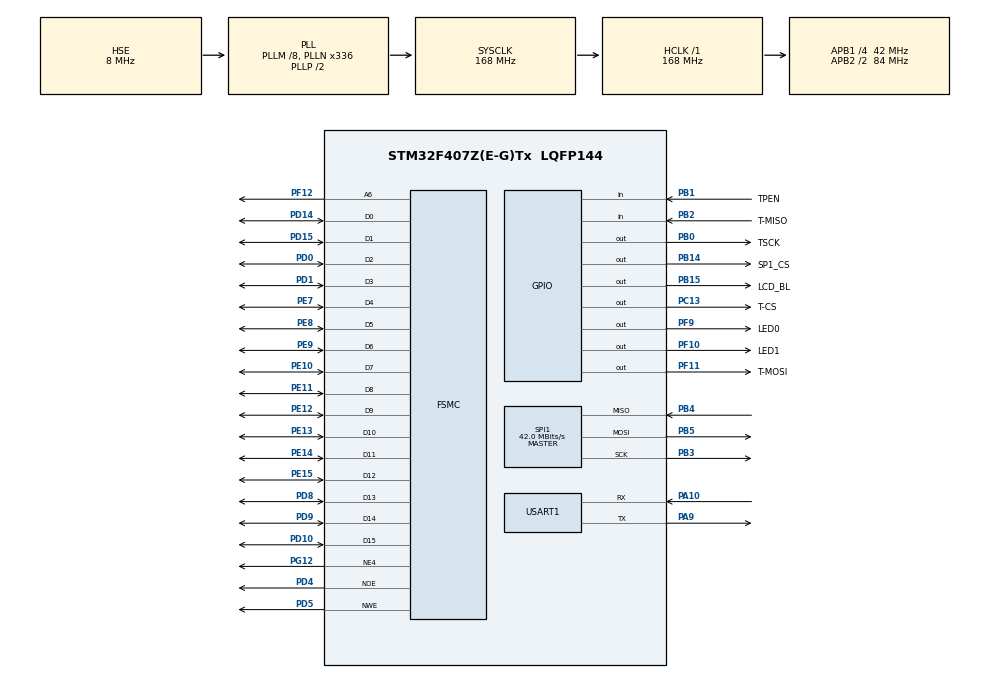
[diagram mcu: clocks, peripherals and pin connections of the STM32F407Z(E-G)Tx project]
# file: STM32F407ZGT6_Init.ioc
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FSMC.AddressSetupTime1=0x0F
FSMC.BusTurnAroundDuration1=0
FSMC.DataSetupTime1=60
FSMC.ExtendedAddressSetupTime1=9
FSMC.ExtendedBusTurnAroundDuration1=0
FSMC.ExtendedDataSetupTime1=9
FSMC.ExtendedMode1=FSMC_EXTENDED_MODE_ENABLE
Mcu.Family=STM32F4
Mcu.Name=STM32F407Z(E-G)Tx
Mcu.Package=LQFP144
NVIC.PriorityGroup=NVIC_PRIORITYGROUP_4
NVIC.USART1_IRQn=true\:2\:0\:true\:false\:true\:true\:true\:true
PA10.Mode=Asynchronous
PA10.Signal=USART1_RX
PA13.Mode=Serial_Wire
PA13.Signal=SYS_JTMS-SWDIO
PA14.Mode=Serial_Wire
PA14.Signal=SYS_JTCK-SWCLK
PA9.Mode=Asynchronous
PA9.Signal=USART1_TX
PB0.GPIO_Label=TSCK
PB0.Signal=GPIO_Output
PB1.GPIO_Label=TPEN
PB1.GPIO_PuPd=GPIO_PULLUP
PB1.Signal=GPIO_Input
PB14.GPIO_Label=SP1_CS
PB14.GPIO_PuPd=GPIO_PULLUP
PB14.GPIO_Speed=GPIO_SPEED_FREQ_MEDIUM
PB14.Signal=GPIO_Output
PB15.GPIO_Label=LCD_BL
PB15.Signal=GPIO_Output
PB2.GPIO_Label=T-MISO
PB2.GPIO_PuPd=GPIO_PULLUP
PB2.Signal=GPIO_Input
PB3.Mode=Full_Duplex_Master
PB3.Signal=SPI1_SCK
PB4.Mode=Full_Duplex_Master
PB4.Signal=SPI1_MISO
PB5.Mode=Full_Duplex_Master
PB5.Signal=SPI1_MOSI
PC13-ANTI_TAMP.GPIO_Label=T-CS
PC13-ANTI_TAMP.Signal=GPIO_Output
PC14-OSC32_IN.Mode=LSE-External-Oscillator
PC14-OSC32_IN.Signal=RCC_OSC32_IN
PC15-OSC32_OUT.Mode=LSE-External-Oscillator
PC15-OSC32_OUT.Signal=RCC_OSC32_OUT
PD0.Signal=FSMC_D2_DA2
PD1.Signal=FSMC_D3_DA3
PD10.Signal=FSMC_D15_DA15
PD14.Signal=FSMC_D0_DA0
PD15.Signal=FSMC_D1_DA1
PD4.Signal=FSMC_NOE
PD5.Signal=FSMC_NWE
PD8.Signal=FSMC_D13_DA13
PD9.Signal=FSMC_D14_DA14
PE10.Signal=FSMC_D7_DA7
PE11.Signal=FSMC_D8_DA8
PE12.Signal=FSMC_D9_DA9
PE13.Signal=FSMC_D10_DA10
PE14.Signal=FSMC_D11_DA11
PE15.Signal=FSMC_D12_DA12
PE7.Signal=FSMC_D4_DA4
PE8.Signal=FSMC_D5_DA5
PE9.Signal=FSMC_D6_DA6
PF10.GPIO_Label=LED1
PF10.GPIO_PuPd=GPIO_PULLUP
PF10.Signal=GPIO_Output
PF11.GPIO_Label=T-MOSI
PF11.Signal=GPIO_Output
PF12.Signal=FSMC_A6
PF9.GPIO_Label=LED0
PF9.GPIO_PuPd=GPIO_PULLUP
PF9.Signal=GPIO_Output
PG12.Mode=NorPsramChipSelect4_1
PG12.Signal=FSMC_NE4
PH0-OSC_IN.Mode=HSE-External-Oscillator
PH0-OSC_IN.Signal=RCC_OSC_IN
PH1-OSC_OUT.Mode=HSE-External-Oscillator
PH1-OSC_OUT.Signal=RCC_OSC_OUT
ProjectManager.HeapSize=0x800
ProjectManager.StackSize=0x1000
ProjectManager.TargetToolchain=MDK-ARM V5.32
RCC.48MHZClocksFreq_Value=84000000
RCC.AHBFreq_Value=168000000
RCC.APB1CLKDivider=RCC_HCLK_DIV4
RCC.APB1Freq_Value=42000000
RCC.APB1TimFreq_Value=84000000
RCC.APB2CLKDivider=RCC_HCLK_DIV2
RCC.APB2Freq_Value=84000000
RCC.APB2TimFreq_Value=168000000
RCC.CortexFreq_Value=168000000
RCC.HCLKFreq_Value=168000000
RCC.HSE_VALUE=8000000
RCC.HSI_VALUE=16000000
RCC.PLLM=8
RCC.PLLN=336
RCC.PLLSourceVirtual=RCC_PLLSOURCE_HSE
RCC.RCC_RTC_Clock_Source=RCC_RTCCLKSOURCE_LSE
RCC.RCC_RTC_Clock_SourceVirtual=RCC_RTCCLKSOURCE_LSE
RCC.SYSCLKFreq_VALUE=168000000
RCC.SYSCLKSource=RCC_SYSCLKSOURCE_PLLCLK
RCC.VCOOutputFreq_Value=336000000
RTC.Date=16
RTC.Hours=23
RTC.Minutes=59
RTC.Month=RTC_MONTH_JULY
RTC.Seconds=40
RTC.WeekDay=RTC_WEEKDAY_TUESDAY
RTC.Year=24
SH.FSMC_A6.0=FSMC_A6,A6_1
SH.FSMC_D0_DA0.0=FSMC_D0,16b-d1
SH.FSMC_D10_DA10.0=FSMC_D10,16b-d1
SH.FSMC_D11_DA11.0=FSMC_D11,16b-d1
SH.FSMC_D12_DA12.0=FSMC_D12,16b-d1
SH.FSMC_D13_DA13.0=FSMC_D13,16b-d1
SH.FSMC_D14_DA14.0=FSMC_D14,16b-d1
SH.FSMC_D15_DA15.0=FSMC_D15,16b-d1
SH.FSMC_D1_DA1.0=FSMC_D1,16b-d1
SH.FSMC_D2_DA2.0=FSMC_D2,16b-d1
SH.FSMC_D3_DA3.0=FSMC_D3,16b-d1
SH.FSMC_D4_DA4.0=FSMC_D4,16b-d1
SH.FSMC_D5_DA5.0=FSMC_D5,16b-d1
SH.FSMC_D6_DA6.0=FSMC_D6,16b-d1
SH.FSMC_D7_DA7.0=FSMC_D7,16b-d1
SH.FSMC_D8_DA8.0=FSMC_D8,16b-d1
SH.FSMC_D9_DA9.0=FSMC_D9,16b-d1
SH.FSMC_NOE.0=FSMC_NOE,Lcd1
SH.FSMC_NWE.0=FSMC_NWE,Lcd1
SPI1.CalculateBaudRate=42.0 MBits/s
SPI1.Direction=SPI_DIRECTION_2LINES
SPI1.Mode=SPI_MODE_MASTER
SPI1.VirtualType=VM_MASTER
TIM6.Prescaler=83
USART1.VirtualMode=VM_ASYNC
VP_RTC_VS_RTC_Activate.Mode=RTC_Enabled
VP_RTC_VS_RTC_Calendar.Mode=RTC_Calendar
VP_TIM6_VS_ClockSourceINT.Mode=Enable_Timer
board=custom

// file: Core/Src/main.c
/* USER CODE BEGIN Header */
/**
  ******************************************************************************
  * @file           : main.c
  * @brief          : Main program body
  ******************************************************************************
  * @attention
  *
  * Copyright (c) 2024 STMicroelectronics.
  * All rights reserved.
  *
  * This software is licensed under terms that can be found in the LICENSE file
  * in the root directory of this software component.
  * If no LICENSE file comes with this software, it is provided AS-IS.
  *
  ******************************************************************************
  */
/* USER CODE END Header */
#include "main.h"
#include "rtc.h"
#include "spi.h"
#include "tim.h"
#include "usart.h"
#include "gpio.h"
#include "fsmc.h"

/* USER CODE BEGIN Includes */
#include "lcd.h"
#include "touch.h"
#include "w25qxx.h"
/* USER CODE END Includes */

void SystemClock_Config(void);
/* USER CODE BEGIN PFP */
RTC_TimeTypeDef GetTime;
RTC_DateTypeDef GetData;
/* USER CODE END PFP */

int main(void)
{
  /* USER CODE BEGIN 1 */
	char Data[50],Time[50];
  /* USER CODE END 1 */

  /* MCU Configuration--------------------------------------------------------*/

  /* Reset of all peripherals, Initializes the Flash interface and the Systick. */
  HAL_Init();

  /* Configure the system clock */
  SystemClock_Config();

  /* Initialize all configured peripherals */
  MX_GPIO_Init();
  MX_FSMC_Init();
  MX_USART1_UART_Init();
  MX_TIM6_Init();
  MX_SPI1_Init();
  MX_RTC_Init();
  /* USER CODE BEGIN 2 */
	LCD_Init();
	W25QXX_Init();
	GBK_Lib_Init();//硬件GBK字库初始化--(如果使用不带字库的液晶屏版本，此处可以屏蔽，不做字库初始化）
	tp_dev.init();				//触摸屏初始化
	// 开启串口接收中断
  HAL_UART_Receive_IT(&huart1, (uint8_t *)&usart1Recv.recvData, 1);
//	Demo_Menu();
	printf("W25Q16id is 0X%X",W25QXX_ReadID());
  /* USER CODE END 2 */

  /* Infinite loop */
  /* USER CODE BEGIN WHILE */
  while (1)
  {

		if(GetTime.Seconds == 59)
		{
			HAL_Delay(1000);
			LCD_Clear(WHITE);
			/* Get the RTC current Time */
			HAL_RTC_GetTime(&hrtc, &GetTime, RTC_FORMAT_BIN);//当秒是59的时候就刷新
			/* Get the RTC current Date */
			HAL_RTC_GetDate(&hrtc, &GetData, RTC_FORMAT_BIN);

		}else
		{
			/* Get the RTC current Time */
			HAL_RTC_GetTime(&hrtc, &GetTime, RTC_FORMAT_BIN);//当秒是59的时候就刷新
			/* Get the RTC current Date */
			HAL_RTC_GetDate(&hrtc, &GetData, RTC_FORMAT_BIN);

		}

		sprintf(Data,"%s%d%s%d%s%d%s","20",GetData.Year,"年", GetData.Month,"月",GetData.Date,"日");
		sprintf(Time,"%s%d%s%d%s%d","时间",GetTime.Hours,":",GetTime.Minutes,":",GetTime.Seconds);
		GBK_Show_Str(0,80,240,32,Data,32,BLUE,WHITE,0);
		GBK_Show_Str(0,150,240,32,Time,32,BLUE,WHITE,0);
		if(TP_Scan(1))
			printf("x is 0x%X,y is 0x%X\r\n",tp_dev.x[0],tp_dev.y[0]);
		if(usart1Recv.recvFlag == 1)
		{
			usart1Recv.recvFlag = 0;
			if(strcmp(usart1Recv.recvBuff, "LED\r") == 0)
			{
				// 发送数据
				printf(usart1Recv.recvBuff);
				printf("temp is %d\r\n",temp);
				HAL_GPIO_TogglePin(LED0_GPIO_Port,LED0_Pin);
				HAL_GPIO_TogglePin(LED1_GPIO_Port,LED1_Pin);
			}
			// 发送数据
			printf("UART_FLAG\r\n");
			memset(usart1Recv.recvBuff,0,sizeof(usart1Recv.recvBuff));
		}
    /* USER CODE END WHILE */

  }
}

void SystemClock_Config(void)
{
  RCC_OscInitTypeDef RCC_OscInitStruct = {0};
  RCC_ClkInitTypeDef RCC_ClkInitStruct = {0};

  /** Configure the main internal regulator output voltage
  */
  __HAL_RCC_PWR_CLK_ENABLE();
  __HAL_PWR_VOLTAGESCALING_CONFIG(PWR_REGULATOR_VOLTAGE_SCALE1);

  /** Initializes the RCC Oscillators according to the specified parameters
  * in the RCC_OscInitTypeDef structure.
  */
  RCC_OscInitStruct.OscillatorType = RCC_OSCILLATORTYPE_HSE|RCC_OSCILLATORTYPE_LSE;
  RCC_OscInitStruct.HSEState = RCC_HSE_ON;
  RCC_OscInitStruct.LSEState = RCC_LSE_ON;
  RCC_OscInitStruct.PLL.PLLState = RCC_PLL_ON;
  RCC_OscInitStruct.PLL.PLLSource = RCC_PLLSOURCE_HSE;
  RCC_OscInitStruct.PLL.PLLM = 8;
  RCC_OscInitStruct.PLL.PLLN = 336;
  RCC_OscInitStruct.PLL.PLLP = RCC_PLLP_DIV2;
  RCC_OscInitStruct.PLL.PLLQ = 4;
  if (HAL_RCC_OscConfig(&RCC_OscInitStruct) != HAL_OK)
  {
    Error_Handler();
  }

  /** Initializes the CPU, AHB and APB buses clocks
  */
  RCC_ClkInitStruct.ClockType = RCC_CLOCKTYPE_HCLK|RCC_CLOCKTYPE_SYSCLK
                              |RCC_CLOCKTYPE_PCLK1|RCC_CLOCKTYPE_PCLK2;
  RCC_ClkInitStruct.SYSCLKSource = RCC_SYSCLKSOURCE_PLLCLK;
  RCC_ClkInitStruct.AHBCLKDivider = RCC_SYSCLK_DIV1;
  RCC_ClkInitStruct.APB1CLKDivider = RCC_HCLK_DIV4;
  RCC_ClkInitStruct.APB2CLKDivider = RCC_HCLK_DIV2;

  if (HAL_RCC_ClockConfig(&RCC_ClkInitStruct, FLASH_LATENCY_5) != HAL_OK)
  {
    Error_Handler();
  }
}

void Error_Handler(void)
{
  __disable_irq();
  while (1)
  {
  }
}
